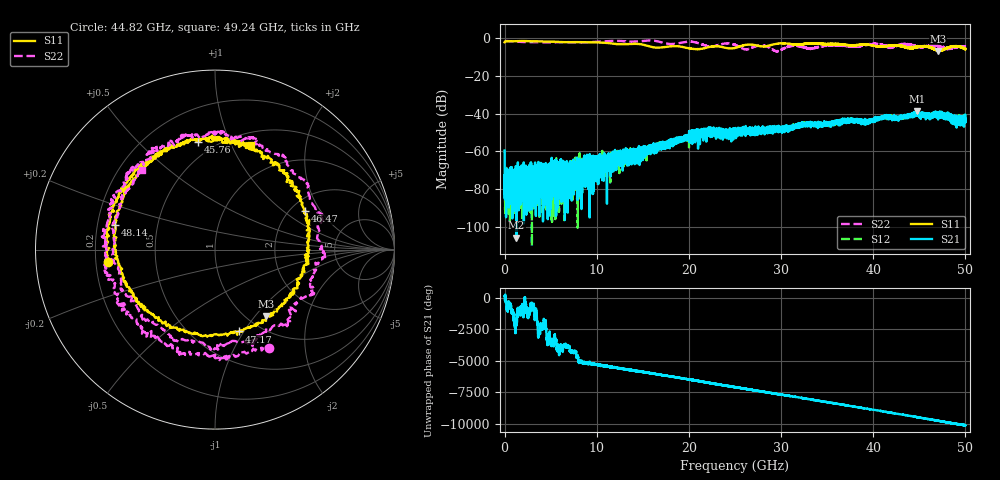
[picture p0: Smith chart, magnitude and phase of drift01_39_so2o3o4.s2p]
!Created with skrf (http://scikit-rf.org).
# Hz S RI R 50.0
!freq ReS11 ImS11 ReS21 ImS21 ReS12 ImS12 ReS22 ImS22
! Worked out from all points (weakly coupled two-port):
!   10001 points, 300 kHz to 50 GHz, reference 50 ohm
!   highest |S21| = -38.67 dB at 44.77 GHz (marker M1); lowest = -105.8 dB at 1.29 GHz (marker M2)
!   lowest |S11| = -6.6 dB at 47.03 GHz (marker M3), VSWR 2.77, Z = 60 - j57.3 ohm
!   |S11| at or under -10 dB: nowhere
!   |S22| runs from -6.8 to -1.0 dB; largest |S21 - S12| = 0.0044
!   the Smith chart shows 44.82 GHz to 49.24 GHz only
!   S11 on the Smith chart (normalised r, x): 44.82 GHz: 0.25, -0.06; 45.76 GHz: 0.41, +0.77; 46.47 GHz: 2.39, +1.47; 47.17 GHz: 0.81, -0.95; 48.14 GHz: 0.27, +0.11; 49.24 GHz: 0.64, +1.19
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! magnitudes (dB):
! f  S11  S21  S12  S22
! 300 kHz  -2.1  -59.5  -76.3  -1.3
! 260.3 MHz  -1.4  -81.8  -70.2  -1.4
! 1.29 GHz  -1.4  -105.8  -87.1  -1.7
! 6.105 GHz  -1.9  -73.6  -74.2  -1.9
! 8.335 GHz  -1.9  -65.0  -66.5  -2.1
! 16.67 GHz  -4.8  -57.4  -57.1  -1.6
! 21.95 GHz  -4.8  -49.9  -49.0  -3.9
! 25 GHz  -5.0  -49.2  -48.2  -3.4
! 28.09 GHz  -4.3  -49.3  -48.1  -3.8
! 29.52 GHz  -2.8  -49.0  -47.7  -6.8
! 31.27 GHz  -3.1  -46.8  -45.8  -4.0
! 33.34 GHz  -2.6  -45.1  -45.7  -5.3
! 41.67 GHz  -3.9  -41.5  -41.4  -4.5
! 44.77 GHz  -4.3  -38.7  -40.2  -4.3
! 44.82 GHz  -4.5  -40.8  -41.0  -4.1
! 45.76 GHz  -4.3  -41.0  -40.5  -4.0
! 46.47 GHz  -5.2  -40.8  -40.2  -3.6
! 47.03 GHz  -6.6  -40.2  -40.2  -4.2
! 47.17 GHz  -6.5  -40.3  -40.5  -4.2
! 48.14 GHz  -4.8  -43.0  -40.4  -5.1
! 49.24 GHz  -4.2  -42.0  -43.7  -4.4
! 50 GHz  -5.6  -44.2  -43.1  -4.2
